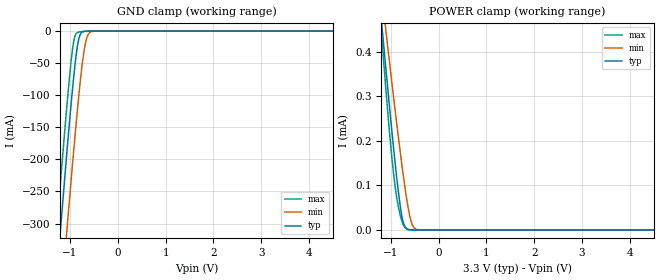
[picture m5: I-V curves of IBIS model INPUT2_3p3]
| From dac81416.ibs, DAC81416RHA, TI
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|   INPUT2_3p3 Model
[Model]   INPUT2_3p3
Model_type   Input
Vinl = 0.99
Vinh = 2.31
|   typ   min   max
C_comp   1.888E-13   1.886E-13   1.921E-13
|  Where Nom  PVT is Nominal Process, 3.3V,   25C
|   Fast PVT is Strong Process,  3.6V,  -40C
|   Slow PVT is Weak Process,   3.0V,  125C
[Model spec]
|subparameter
Vinl   0.99   0.9   1.08
Vinh   2.31   2.1   2.52
[Voltage Range]   3.3   3   3.6
|Junction Temperature
[Temperature Range]   25   125   -40
[Power Clamp Reference]   3.3   3   3.6
[GND Clamp Reference]   0   0   0
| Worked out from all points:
|   GND clamp passes 1 mA (typ) near -0.73 V on its own axis
|   POWER clamp passes 1 mA (typ) near -1.64 V on its own axis
[GND Clamp]
|   Voltage   I(typ)   I(min)   I(max)
-3.3V     -2.359A    -2.475A    -2.29A
-1.32V    -422.9mA   -546.5mA   -348.5mA
-1.27V    -376.4mA   -500.1mA   -301.9mA
-1.201V   -311.9mA   -435.5mA   -237.5mA
-1.063V   -186.6mA   -308.8mA   -113.9mA
-943.8mV  -87.46mA   -204.2mA   -26.22mA
-844.8mV  -23.29mA   -122.7mA   -2.318mA
-785.4mV  -5.228mA   -78.64mA   -1.156mA
-686.4mV  -363.6uA   -22.68mA   -383.2uA
-627mV    -101.3uA   -6.575mA   -152.2uA
-537.9mV  -14.12uA   -653uA     -22.83uA
6.6V      0A         0A         0A
[POWER Clamp]
|   Voltage   I(typ)   I(min)   I(max)
-3.3V     3.037mA    2.618mA    3.572mA
-1.27V    555.2uA    605.4uA    544.1uA
-1.191V   462.3uA    529.5uA    433uA
-1.102V   359.4uA    445uA      312.3uA
-993.3mV  237.3uA    343.3uA    177.8uA
-904.2mV  143.4uA    262.1uA    92.06uA
-775.5mV  34.27uA    150.7uA    21.73uA
-716.1mV  9.616uA    103.4uA    7.391uA
-656.7mV  1.989uA    61.33uA    1.851uA
-547.8mV  94.27nA    10.98uA    73.03nA
-409.2mV  0A         268.9nA    0A
6.6V      0A         0A         0A
